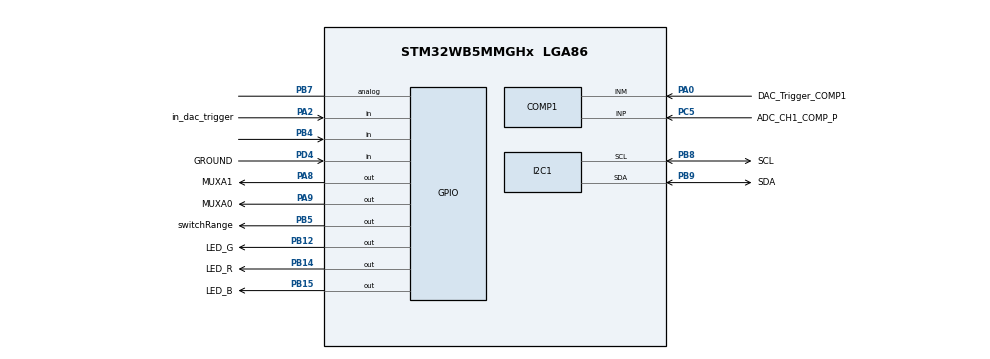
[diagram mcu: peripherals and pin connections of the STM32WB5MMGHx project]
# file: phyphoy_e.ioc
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ADC1.Channel-6\#ChannelRegularConversion=ADC_CHANNEL_5
ADC1.ClockPrescaler=ADC_CLOCK_ASYNC_DIV8
ADC1.ContinuousConvMode=DISABLE
ADC1.DMAContinuousRequests=ENABLE
ADC1.ExternalTrigConv=ADC_SOFTWARE_START
ADC1.ExternalTrigConvEdge=ADC_EXTERNALTRIGCONVEDGE_NONE
ADC1.NbrOfConversion=1
ADC1.NbrOfConversionFlag=1
ADC1.OffsetNumber-6\#ChannelRegularConversion=ADC_OFFSET_NONE
ADC1.Overrun=ADC_OVR_DATA_OVERWRITTEN
ADC1.OversamplingMode=ENABLE
ADC1.Rank-6\#ChannelRegularConversion=1
ADC1.Ratio=ADC_OVERSAMPLING_RATIO_16
ADC1.RightBitShift=ADC_RIGHTBITSHIFT_4
ADC1.SamplingTime-6\#ChannelRegularConversion=ADC_SAMPLETIME_247CYCLES_5
ADC1.master=1
COMP1.Hysteresis=COMP_HYSTERESIS_HIGH
COMP1.TriggerMode=COMP_TRIGGERMODE_NONE
Dma.ADC1.0.Direction=DMA_PERIPH_TO_MEMORY
Dma.ADC1.0.EventEnable=DISABLE
Dma.ADC1.0.Instance=DMA1_Channel1
Dma.ADC1.0.MemDataAlignment=DMA_MDATAALIGN_HALFWORD
Dma.ADC1.0.MemInc=DMA_MINC_ENABLE
Dma.ADC1.0.Mode=DMA_CIRCULAR
Dma.ADC1.0.PeriphDataAlignment=DMA_PDATAALIGN_HALFWORD
Dma.ADC1.0.PeriphInc=DMA_PINC_DISABLE
Dma.ADC1.0.Polarity=HAL_DMAMUX_REQ_GEN_RISING
Dma.ADC1.0.Priority=DMA_PRIORITY_VERY_HIGH
Dma.ADC1.0.RequestNumber=1
Dma.ADC1.0.SignalID=NONE
Dma.ADC1.0.SyncEnable=DISABLE
Dma.ADC1.0.SyncPolarity=HAL_DMAMUX_SYNC_NO_EVENT
Dma.ADC1.0.SyncRequestNumber=1
Dma.ADC1.0.SyncSignalID=NONE
Dma.Request0=ADC1
I2C1.Timing=0x00707CBB
Mcu.Family=STM32WB
Mcu.Name=STM32WB5MMGHx
Mcu.Package=LGA86
NVIC.ADC1_IRQn=true\:0\:0\:false\:false\:true\:true\:true\:true
NVIC.DMA1_Channel1_IRQn=true\:0\:0\:false\:false\:true\:false\:true\:true
NVIC.HSEM_IRQn=true\:0\:0\:false\:false\:true\:false\:true\:true
NVIC.IPCC_C1_RX_IRQn=true\:0\:0\:false\:false\:true\:true\:true\:true
NVIC.IPCC_C1_TX_IRQn=true\:0\:0\:false\:false\:true\:true\:true\:true
NVIC.PriorityGroup=NVIC_PRIORITYGROUP_4
NVIC.RTC_WKUP_IRQn=true\:0\:0\:false\:false\:true\:true\:true\:true
NVIC.TIM1_CC_IRQn=true\:0\:0\:false\:false\:true\:true\:true\:true
NVIC.TIM1_TRG_COM_TIM17_IRQn=true\:0\:0\:false\:false\:true\:true\:true\:true
NVIC.TIM2_IRQn=true\:0\:0\:false\:false\:true\:true\:true\:true
PA0.GPIO_Label=DAC_Trigger_COMP1
PA0.Signal=SharedAnalog_PA0
PA1.GPIO_Label=ADC_MUX_divided
PA1.Signal=ADCx_IN6
PA2.GPIO_Label=in_dac_trigger
PA2.Signal=GPIO_Input
PA5.Signal=ADCx_IN10
PA6.Signal=ADCx_IN11
PA7.Signal=ADCx_IN12
PA8.GPIO_Label=MUXA1
PA8.PinState=GPIO_PIN_SET
PA8.Signal=GPIO_Output
PA9.GPIO_Label=MUXA0
PA9.PinState=GPIO_PIN_RESET
PA9.Signal=GPIO_Output
PB12.GPIO_Label=LED_G
PB12.PinState=GPIO_PIN_SET
PB12.Signal=GPIO_Output
PB14.GPIO_Label=LED_R
PB14.PinState=GPIO_PIN_SET
PB14.Signal=GPIO_Output
PB15.GPIO_Label=LED_B
PB15.GPIO_PuPd=GPIO_NOPULL
PB15.PinState=GPIO_PIN_SET
PB15.Signal=GPIO_Output
PB4.Signal=GPIO_Input
PB5.GPIO_Label=switchRange
PB5.PinState=GPIO_PIN_RESET
PB5.Signal=GPIO_Output
PB7.Signal=GPIO_Analog
PB8.GPIO_Label=SCL
PB8.GPIO_Pu=GPIO_PULLUP
PB8.Mode=I2C
PB8.Signal=I2C1_SCL
PB9.GPIO_Label=SDA
PB9.GPIO_Pu=GPIO_PULLUP
PB9.Mode=I2C
PB9.Signal=I2C1_SDA
PC0.Signal=ADCx_IN1
PC1.Signal=ADCx_IN2
PC2.Signal=ADCx_IN3
PC5.GPIO_Label=ADC_CH1_COMP_P
PC5.Signal=SharedAnalog_PC5
PD4.GPIO_Label=GROUND
PD4.Signal=GPIO_Input
ProjectManager.HeapSize=0x200
ProjectManager.StackSize=0x400
ProjectManager.TargetToolchain=STM32CubeIDE
RCC.ADCFreq_Value=64000000
RCC.AHBFreq_Value=32000000
RCC.APB1Freq_Value=32000000
RCC.APB1TimFreq_Value=32000000
RCC.APB2Freq_Value=32000000
RCC.APB2TimFreq_Value=32000000
RCC.APB3Freq_Value=16000000
RCC.CortexFreq_Value=32000000
RCC.HCLKFreq_Value=32000000
RCC.HSE_VALUE=32000000
RCC.HSI48_VALUE=48000000
RCC.HSI_VALUE=16000000
RCC.MSIClockRange=RCC_MSIRANGE_10
RCC.PLLSourceVirtual=RCC_PLLSOURCE_HSI
RCC.RFWKPClockSelection=RCC_RFWKPCLKSOURCE_LSE
RCC.RTCClockSelection=RCC_RTCCLKSOURCE_LSE
RCC.SYSCLKFreq_VALUE=32000000
RCC.USBFreq_Value=64000000
RCC.VCOOutputFreq_Value=128000000
SH.ADCx_IN1.0=ADC1_IN1
SH.ADCx_IN10.0=ADC1_IN10
SH.ADCx_IN11.0=ADC1_IN11
SH.ADCx_IN12.0=ADC1_IN12
SH.ADCx_IN2.0=ADC1_IN2
SH.ADCx_IN3.0=ADC1_IN3
SH.ADCx_IN6.0=ADC1_IN6
SH.SharedAnalog_PA0.0=COMP1_INM,INM
SH.SharedAnalog_PA0.1=ADC1_IN5,IN5-Single-Ended
SH.SharedAnalog_PC5.0=COMP1_INP,INP
SH.SharedAnalog_PC5.1=ADC1_IN14,IN14-Single-Ended
STM32_WPAN.AD_TYPE_COMPLETE_LOCAL_NAME=phyphox\:e 000
STM32_WPAN.AD_TYPE_COMPLETE_LOCAL_NAME_LENGTH=14
STM32_WPAN.CFG_BLE_MAX_ATT_MTU=185
STM32_WPAN.CFG_BLE_OPTIONS_EXT_ADV=SHCI_C2_BLE_INIT_OPTIONS_EXT_ADV
STM32_WPAN.CUSTOM_P2P_SERVER=Disabled
STM32_WPAN.CUSTOM_TEMPLATE=Enabled
STM32_WPAN.INCLUDE_AD_TYPE_128_BIT_SERV_UUID_CMPLT_LIST=0
STM32_WPAN.INCLUDE_AD_TYPE_COMPLETE_LOCAL_NAME=1
STM32_WPAN.INCLUDE_AD_TYPE_TX_POWER_LEVEL=1
STM32_WPAN.LOCAL_NAME=pp e
STM32_WPAN.LOCAL_NAME_FORMATTED=,'p','p',' ','e'
STM32_WPAN.NUMBER_OF_SERVICES=1
STM32_WPAN.SERVICE1_CHAR1_GATT_NOTIFY_READ_REQ_AND_WAIT_FOR_APPL_RESP=\ 
STM32_WPAN.SERVICE1_CHAR1_GATT_NOTIFY_WRITE_REQ_AND_WAIT_FOR_APPL_RESP=\ 
STM32_WPAN.SERVICE1_CHAR1_LENGTH_CHARACTERISTIC=CHAR_VALUE_LEN_VARIABLE
STM32_WPAN.SERVICE1_CHAR1_LONG_NAME=channelOne
STM32_WPAN.SERVICE1_CHAR1_PROP_BROADCAST=CHAR_PROP_BROADCAST
STM32_WPAN.SERVICE1_CHAR1_PROP_NOTIFY=CHAR_PROP_NOTIFY
STM32_WPAN.SERVICE1_CHAR1_PROP_READ=CHAR_PROP_READ
STM32_WPAN.SERVICE1_CHAR1_PROP_WRITE=CHAR_PROP_WRITE
STM32_WPAN.SERVICE1_CHAR1_SHORT_NAME=channelOne
STM32_WPAN.SERVICE1_CHAR1_UUID=CD DF 10 02 30 F7 46 71 8B 43 5E 40 BA 53 51 4A
STM32_WPAN.SERVICE1_CHAR1_UUID_128_INPUT_TYPE=1
STM32_WPAN.SERVICE1_CHAR1_VALUE_LENGTH=180
STM32_WPAN.SERVICE1_CHAR2_GATT_NOTIFY_READ_REQ_AND_WAIT_FOR_APPL_RESP=\ 
STM32_WPAN.SERVICE1_CHAR2_GATT_NOTIFY_WRITE_REQ_AND_WAIT_FOR_APPL_RESP=\ 
STM32_WPAN.SERVICE1_CHAR2_LENGTH_CHARACTERISTIC=CHAR_VALUE_LEN_CONSTANT
STM32_WPAN.SERVICE1_CHAR2_LONG_NAME=myCharNotify
STM32_WPAN.SERVICE1_CHAR2_PROP_READ=CHAR_PROP_READ
STM32_WPAN.SERVICE1_CHAR2_PROP_WRITE=CHAR_PROP_WRITE
STM32_WPAN.SERVICE1_CHAR2_SHORT_NAME=myCharNotify
STM32_WPAN.SERVICE1_CHAR2_UUID=CD DF 10 03 30 F7 46 71 8B 43 5E 40 BA 53 51 4A
STM32_WPAN.SERVICE1_CHAR2_UUID_128_INPUT_TYPE=1
STM32_WPAN.SERVICE1_CHAR2_VALUE_LENGTH=1
STM32_WPAN.SERVICE1_CHAR3_GATT_NOTIFY_READ_REQ_AND_WAIT_FOR_APPL_RESP=\ 
STM32_WPAN.SERVICE1_CHAR3_GATT_NOTIFY_WRITE_REQ_AND_WAIT_FOR_APPL_RESP=\ 
STM32_WPAN.SERVICE1_CHAR3_LENGTH_CHARACTERISTIC=CHAR_VALUE_LEN_VARIABLE
STM32_WPAN.SERVICE1_CHAR3_LONG_NAME=dac_char
STM32_WPAN.SERVICE1_CHAR3_PROP_READ=CHAR_PROP_READ
STM32_WPAN.SERVICE1_CHAR3_PROP_WRITE=CHAR_PROP_WRITE
STM32_WPAN.SERVICE1_CHAR3_SHORT_NAME=dac_char
STM32_WPAN.SERVICE1_CHAR3_UUID=CD DF 10 04 30 F7 46 71 8B 43 5E 40 BA 53 51 4A
STM32_WPAN.SERVICE1_CHAR3_UUID_128_INPUT_TYPE=1
STM32_WPAN.SERVICE1_CHAR3_VALUE_LENGTH=20
STM32_WPAN.SERVICE1_CHAR4_GATT_NOTIFY_READ_REQ_AND_WAIT_FOR_APPL_RESP=\ 
STM32_WPAN.SERVICE1_CHAR4_GATT_NOTIFY_WRITE_REQ_AND_WAIT_FOR_APPL_RESP=\ 
STM32_WPAN.SERVICE1_CHAR4_LONG_NAME=adc_cfg_char
STM32_WPAN.SERVICE1_CHAR4_PROP_READ=CHAR_PROP_READ
STM32_WPAN.SERVICE1_CHAR4_PROP_WRITE=CHAR_PROP_WRITE
STM32_WPAN.SERVICE1_CHAR4_SHORT_NAME=adc_cfg_char
STM32_WPAN.SERVICE1_CHAR4_UUID=CD DF 10 05 30 F7 46 71 8B 43 5E 40 BA 53 51 4A
STM32_WPAN.SERVICE1_CHAR4_UUID_128_INPUT_TYPE=1
STM32_WPAN.SERVICE1_CHAR4_VALUE_LENGTH=20
STM32_WPAN.SERVICE1_CHAR5_GATT_NOTIFY_READ_REQ_AND_WAIT_FOR_APPL_RESP=\ 
STM32_WPAN.SERVICE1_CHAR5_GATT_NOTIFY_WRITE_REQ_AND_WAIT_FOR_APPL_RESP=\ 
STM32_WPAN.SERVICE1_CHAR5_LONG_NAME=CALIBRATION
STM32_WPAN.SERVICE1_CHAR5_PROP_READ=CHAR_PROP_READ
STM32_WPAN.SERVICE1_CHAR5_PROP_WRITE=CHAR_PROP_WRITE
STM32_WPAN.SERVICE1_CHAR5_SHORT_NAME=CALIBRATION
STM32_WPAN.SERVICE1_CHAR5_UUID=CD DF 90 02 30 F7 46 71 8B 43 5E 40 BA 53 51 4A
STM32_WPAN.SERVICE1_CHAR5_UUID_128_INPUT_TYPE=1
STM32_WPAN.SERVICE1_CHAR5_VALUE_LENGTH=20
STM32_WPAN.SERVICE1_LONG_NAME=data
STM32_WPAN.SERVICE1_NUMBER_OF_CHARACTERISTICS=5
STM32_WPAN.SERVICE1_SHORT_NAME=data
STM32_WPAN.SERVICE1_UUID=CD DF 10 01 30 F7 46 71 8B 43 5E 40 BA 53 51 4A
STM32_WPAN.SERVICE1_UUID_128_INPUT_TYPE=1
TIM1.AutoReloadPreload=TIM_AUTORELOAD_PRELOAD_ENABLE
TIM1.Channel-Input_Capture1_from_TI1_REMAP_TIM1=TIM_CHANNEL_1
TIM1.ICFilter_CH1=5
TIM1.ICPolarity_CH1=TIM_INPUTCHANNELPOLARITY_FALLING
TIM1.Period=4000+500
TIM1.Prescaler=30
TIM1.TIM_MasterOutputTrigger=TIM_TRGO_UPDATE
TIM1.TIM_MasterOutputTrigger2=TIM_TRGO2_RESET
TIM2.AutoReloadPreload=TIM_AUTORELOAD_PRELOAD_DISABLE
TIM2.Period=10
TIM2.Prescaler=30
TIM2.TIM_MasterOutputTrigger=TIM_TRGO_UPDATE
VP_HSEM_VS_HSEM.Mode=HSEM_Activate
VP_IPCC_VS_IPCC.Mode=IPCC_Activate
VP_MEMORYMAP_VS_MEMORYMAP.Mode=CurAppReg
VP_RCC_V_OSC32_IN.Mode=LSE-External-Clock-Source
VP_RCC_V_OSC_IN.Mode=HSE-External-Clock-Source
VP_RF_VS_RF.Mode=RF_Activate
VP_RTC_VS_RTC_Activate.Mode=RTC_Enabled
VP_RTC_VS_RTC_WakeUp_intern.Mode=WakeUp
VP_SEQUENCER_VS_SEQUENCER.Mode=SEQUENCER_Enabled
VP_STM32_WPAN_VS_BLE_HOST.Mode=STM32_WPAN_Enabled
VP_TIM1_VS_ClockSourceINT.Mode=Internal
VP_TIM1_VS_NoInput1.Mode=Input_Capture1_from_TI1_REMAP_TIM1
VP_TIM2_VS_ClockSourceINT.Mode=Internal
VP_TINY_LPM_VS_TINY_LPM.Mode=TINY_LPM_Enabled
board=custom

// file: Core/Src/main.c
/* USER CODE BEGIN Header */
/**
  ******************************************************************************
  * @file           : main.c
  * @brief          : Main program body
  ******************************************************************************
  * @attention
  *
  * Copyright (c) 2023 STMicroelectronics.
  * All rights reserved.
  *
  * This software is licensed under terms that can be found in the LICENSE file
  * in the root directory of this software component.
  * If no LICENSE file comes with this software, it is provided AS-IS.
  *
  ******************************************************************************
  */
/* USER CODE END Header */
#include "main.h"

/* USER CODE BEGIN Includes */
#include <stdbool.h>
#include "dac.h"
#include "shared.h"
#include <stdlib.h>
#include <stdio.h>
#include <math.h>
/* USER CODE END Includes */

/* USER CODE BEGIN PTD */
uint32_t flash_address = 0x08080000;

uint8_t SAMPLETIME[8]={ADC_SAMPLETIME_2CYCLES_5,	// 0
		  ADC_SAMPLETIME_6CYCLES_5,					// 1
		  ADC_SAMPLETIME_12CYCLES_5,				// 2
		  ADC_SAMPLETIME_24CYCLES_5,				// 3
		  ADC_SAMPLETIME_47CYCLES_5,				// 4
		  ADC_SAMPLETIME_92CYCLES_5,				// 5
		  ADC_SAMPLETIME_247CYCLES_5,				// 6g
		  ADC_SAMPLETIME_640CYCLES_5};
float SAMPLETIME_CYCLES[8]={2.5,	// 0
		  6.5,					// 1
		  12.5,				// 2
		  24.5,				// 3
		  47.5,				// 4
		  92.5,				// 5
		  247.5,				// 6g
		  640.5};

uint8_t PRESCALER[]={ADC_CLOCK_ASYNC_DIV1,
					ADC_CLOCK_ASYNC_DIV2,
					ADC_CLOCK_ASYNC_DIV4,
					ADC_CLOCK_ASYNC_DIV8,
					ADC_CLOCK_ASYNC_DIV16,
					ADC_CLOCK_ASYNC_DIV32
};
uint8_t PRESCALER_DIVIDER[]={1,
					2,
					4,
					8,
					16,
					32
};
uint8_t OVERSAMPLING[]={ADC_OVERSAMPLING_RATIO_2,
						ADC_OVERSAMPLING_RATIO_2,
						ADC_OVERSAMPLING_RATIO_4,
						ADC_OVERSAMPLING_RATIO_8,
						ADC_OVERSAMPLING_RATIO_16,
						ADC_OVERSAMPLING_RATIO_32,
						ADC_OVERSAMPLING_RATIO_64,
						ADC_OVERSAMPLING_RATIO_128,
						ADC_OVERSAMPLING_RATIO_256
};
uint16_t OVERSAMPLING_DIVIDER[9]={1,
						2,
						4,
						8,
						16,
						32,
						64,
						128,
						256
};
uint8_t BITSHIFT[]={ADC_RIGHTBITSHIFT_NONE,
						ADC_RIGHTBITSHIFT_1,
						ADC_RIGHTBITSHIFT_2,
						ADC_RIGHTBITSHIFT_3,
						ADC_RIGHTBITSHIFT_4,
						ADC_RIGHTBITSHIFT_5,
						ADC_RIGHTBITSHIFT_6,
						ADC_RIGHTBITSHIFT_7,
						ADC_RIGHTBITSHIFT_8
};

/* USER CODE END PTD */

ADC_HandleTypeDef hadc1;
DMA_HandleTypeDef hdma_adc1;

COMP_HandleTypeDef hcomp1;

I2C_HandleTypeDef hi2c1;

IPCC_HandleTypeDef hipcc;

RTC_HandleTypeDef hrtc;

TIM_HandleTypeDef htim1;
TIM_HandleTypeDef htim2;

/* USER CODE BEGIN PV */

#define FLASH_LAYOUT_IS_HOMOGENEOUS (1)
#define FLASH_LAYOUT_START_ADDR     (FLASH_BASE)
#define FLASH_LAYOUT_SECTOR_SIZE    (FLASH_PAGE_SIZE)
#define FLASH_LAYOUT_NUM_SECTORS    (512)

uint16_t adc_buf[ADC_BUFFER_LEN];

float dac_voltage[2]={0};

uint8_t* adc_mode = &adc_config[0];
uint8_t* adc_routing = &adc_config[1];
uint8_t* adc_sampletime = &adc_config[2];
uint8_t* adc_clock_prescaler = &adc_config[3];
uint8_t* adc_oversampling = &adc_config[4];
uint8_t* adc_edge = &adc_config[5];

extern uint8_t ble_flag;
extern uint8_t ble_buffer[1];
extern volatile uint8_t transferring = 0;
extern uint8_t adc_char_length = 180;
extern volatile uint8_t activate_trigger = 0;

volatile int Is_First_Captured = 0;
volatile int first_adc_loop_finished = 0;

volatile uint32_t IC_Val1 = 0;
volatile uint16_t timer_val;

volatile uint32_t reference_counts = 0;

extern volatile uint16_t timestamp_trigger = 0;
extern volatile uint16_t timestamp_adc_stop = 0;

extern volatile uint16_t SAMPLES_PRE_TRIGGER = 90;
extern volatile uint16_t SAMPLES_POST_TRIGGER = 270;
extern volatile uint16_t my_prescaler = 30;//16417;

extern uint16_t CALI_DAC_INT[4] = {0,0};
extern uint16_t CALI_DAC_INT_OUT[2] = {0,0};

extern float CALI_DAC_FLOAT[2] = {0,0};
extern uint16_t SERIALNUMBER[1] = {0};
extern float CALI_LOW_FLOAT[2] = {0.0,0.0};
extern volatile uint8_t CALIBRATED = 0;

//VALENTIN
//extern int CALI_LOW_INT[2] = {1957,1957};
//extern float CALI_HIGH_FLOAT[2] = {12.0,12.0};
//extern int CALI_HIGH_INT[2] = {3874,3874};

//JONA
//extern int CALI_LOW_INT[2] = {2060,2060};
//extern float CALI_HIGH_FLOAT[2] = {12.0,12.0};
//extern int CALI_HIGH_INT[2] = {3795,3795};

//Dominik
extern uint16_t CALI_LOW_INT[2] = {3,4};
extern float CALI_HIGH_FLOAT[2] = {7.63,7.63};
extern uint16_t CALI_HIGH_INT[2] = {5,6};

extern float CALI_LOW_FLOAT[2] = {0.0,0.0};
extern int CALI_LOW_INT[2] = {2029,2029};
extern float CALI_HIGH_FLOAT[2] = {10.02,10.02};
extern int CALI_HIGH_INT[2] = {3472,3472};
extern uint8_t CALIBRATET = 1;

/* USER CODE END PV */

void SystemClock_Config(void);
void PeriphCommonClock_Config(void);
static void MX_GPIO_Init(void);
static void MX_DMA_Init(void);
static void MX_RTC_Init(void);
static void MX_I2C1_Init(void);
static void MX_COMP1_Init(void);
static void MX_ADC1_Init(void);
static void MX_IPCC_Init(void);
static void MX_TIM1_Init(void);
static void MX_TIM2_Init(void);
static void MX_RF_Init(void);
/* USER CODE BEGIN PFP */

static uint8_t write_i2c(uint8_t addr, uint16_t reg, uint8_t *data_w, uint16_t len);
static uint8_t read_i2c(uint8_t addr, uint16_t reg, uint8_t *data_r, uint16_t len);
uint16_t volatile timer_val;

/* USER CODE END PFP */

/* USER CODE BEGIN 0 */

int _write(int file, char *ptr, int len){
	int i=0;
	for(i=0; i<len; i++){
		ITM_SendChar((*ptr++));
	}
	return len;
}
extern dacx3202_t dacx3202 = {.addr = DACX3202_7B_ADDR(0x00),
							.i2c_read = read_i2c,
							.i2c_write = write_i2c,
							.vref = 3.0};

/* USER CODE END 0 */

int main(void)
{

  /* MCU Configuration--------------------------------------------------------*/

  /* Reset of all peripherals, Initializes the Flash interface and the Systick. */
  HAL_Init();
  /* Config code for STM32_WPAN (HSE Tuning must be done before system clock configuration) */
  MX_APPE_Config();

  /* Configure the system clock */
  SystemClock_Config();

/* Configure the peripherals common clocks */
  PeriphCommonClock_Config();

  /* IPCC initialisation */
  MX_IPCC_Init();

  /* Initialize all configured peripherals */
  MX_GPIO_Init();
  MX_DMA_Init();
  MX_RTC_Init();
  MX_I2C1_Init();
  MX_COMP1_Init();
  MX_ADC1_Init();
  MX_TIM1_Init();
  MX_TIM2_Init();
  MX_RF_Init();
  /* USER CODE BEGIN 2 */
  adc_buffer_p = &adc_buf[0];

//HAL_TIM_OnePulse_Start_IT(&htim1, TIM_CHANNEL_1);

  //HAL_GPIO_TogglePin(LED_R_GPIO_Port, LED_R_Pin);

  //HAL_TIM_Base_Start_IT(&htim1);
  //HAL_TIM_OC_Start_IT(&htim1, TIM_CHANNEL_1);

  HAL_COMP_Start(&hcomp1);

  dacx3202_init(&dacx3202);
  dacx3202_power_up(&dacx3202, DACX3202_DAC_0);
  dacx3202_set_voltage(&dacx3202, DACX3202_DAC_0, 1.59);
  dacx3202_power_up(&dacx3202, DACX3202_DAC_1);
  //dacx3202_set_voltage(&dacx3202, DACX3202_DAC_1, 2.2);
  dacx3202_set_value(&dacx3202, DACX3202_DAC_1, 0);

  myPointerToDMA = &adc_buf[0];
  if(HAL_ADCEx_Calibration_Start(&hadc1, ADC_SINGLE_ENDED)== HAL_OK){
	  //HAL_GPIO_TogglePin(LED_G_GPIO_Port, LED_G_Pin);
  }
  //HAL_ADC_Start_IT(&hadc1);

  //start_circular_adc();

  //HAL_ADC_Start_DMA_(&hadc1, (uint32_t*)adc_buf, ADC_BUFFER_LEN);
  HAL_ADC_Start(&hadc1);
  HAL_ADC_PollForConversion(&hadc1, 1000);
  uint16_t dac_calibration_value = HAL_ADC_GetValue(&hadc1);
  HAL_ADC_Stop(&hadc1);
  printf("dac_calibration_valuie low%i\r\n",dac_calibration_value);
  CALI_DAC_INT[0]=dac_calibration_value;

  dacx3202_set_value(&dacx3202, DACX3202_DAC_1, 1023);
  HAL_ADC_Start(&hadc1);
	HAL_ADC_PollForConversion(&hadc1, 1000);
	dac_calibration_value = HAL_ADC_GetValue(&hadc1);
	HAL_ADC_Stop(&hadc1);
	printf("dac_calibration_valuie high %i\r\n",dac_calibration_value);
	CALI_DAC_INT[1]=dac_calibration_value;

	HAL_GPIO_WritePin(LED_R_GPIO_Port, LED_R_Pin, 0);

	//update_flash();
	read_flash();

  /* USER CODE END 2 */

  /* Init code for STM32_WPAN */
  MX_APPE_Init();

  /* Infinite loop */
  while (1)
  {
    MX_APPE_Process();

  }
}

void SystemClock_Config(void)
{
  RCC_OscInitTypeDef RCC_OscInitStruct = {0};
  RCC_ClkInitTypeDef RCC_ClkInitStruct = {0};

  /** Macro to configure the PLL multiplication factor
  */
  __HAL_RCC_PLL_PLLM_CONFIG(RCC_PLLM_DIV1);

  /** Macro to configure the PLL clock source
  */
  __HAL_RCC_PLL_PLLSOURCE_CONFIG(RCC_PLLSOURCE_HSI);

  /** Configure LSE Drive Capability
  */
  HAL_PWR_EnableBkUpAccess();
  __HAL_RCC_LSEDRIVE_CONFIG(RCC_LSEDRIVE_MEDIUMHIGH);

  /** Configure the main internal regulator output voltage
  */
  __HAL_PWR_VOLTAGESCALING_CONFIG(PWR_REGULATOR_VOLTAGE_SCALE1);

  /** Initializes the RCC Oscillators according to the specified parameters
  * in the RCC_OscInitTypeDef structure.
  */
  RCC_OscInitStruct.OscillatorType = RCC_OSCILLATORTYPE_HSI|RCC_OSCILLATORTYPE_HSE
                              |RCC_OSCILLATORTYPE_LSE|RCC_OSCILLATORTYPE_MSI;
  RCC_OscInitStruct.HSEState = RCC_HSE_ON;
  RCC_OscInitStruct.LSEState = RCC_LSE_ON;
  RCC_OscInitStruct.HSIState = RCC_HSI_ON;
  RCC_OscInitStruct.MSIState = RCC_MSI_ON;
  RCC_OscInitStruct.HSICalibrationValue = RCC_HSICALIBRATION_DEFAULT;
  RCC_OscInitStruct.MSICalibrationValue = RCC_MSICALIBRATION_DEFAULT;
  RCC_OscInitStruct.MSIClockRange = RCC_MSIRANGE_10;
  RCC_OscInitStruct.PLL.PLLState = RCC_PLL_NONE;
  if (HAL_RCC_OscConfig(&RCC_OscInitStruct) != HAL_OK)
  {
    Error_Handler();
  }

  /** Configure the SYSCLKSource, HCLK, PCLK1 and PCLK2 clocks dividers
  */
  RCC_ClkInitStruct.ClockType = RCC_CLOCKTYPE_HCLK4|RCC_CLOCKTYPE_HCLK2
                              |RCC_CLOCKTYPE_HCLK|RCC_CLOCKTYPE_SYSCLK
                              |RCC_CLOCKTYPE_PCLK1|RCC_CLOCKTYPE_PCLK2;
  RCC_ClkInitStruct.SYSCLKSource = RCC_SYSCLKSOURCE_MSI;
  RCC_ClkInitStruct.AHBCLKDivider = RCC_SYSCLK_DIV1;
  RCC_ClkInitStruct.APB1CLKDivider = RCC_HCLK_DIV1;
  RCC_ClkInitStruct.APB2CLKDivider = RCC_HCLK_DIV1;
  RCC_ClkInitStruct.AHBCLK2Divider = RCC_SYSCLK_DIV1;
  RCC_ClkInitStruct.AHBCLK4Divider = RCC_SYSCLK_DIV1;

  if (HAL_RCC_ClockConfig(&RCC_ClkInitStruct, FLASH_LATENCY_1) != HAL_OK)
  {
    Error_Handler();
  }
}

void PeriphCommonClock_Config(void)
{
  RCC_PeriphCLKInitTypeDef PeriphClkInitStruct = {0};

  /** Initializes the peripherals clock
  */
  PeriphClkInitStruct.PeriphClockSelection = RCC_PERIPHCLK_SMPS|RCC_PERIPHCLK_RFWAKEUP;
  PeriphClkInitStruct.RFWakeUpClockSelection = RCC_RFWKPCLKSOURCE_LSE;
  PeriphClkInitStruct.SmpsClockSelection = RCC_SMPSCLKSOURCE_HSI;
  PeriphClkInitStruct.SmpsDivSelection = RCC_SMPSCLKDIV_RANGE1;

  if (HAL_RCCEx_PeriphCLKConfig(&PeriphClkInitStruct) != HAL_OK)
  {
    Error_Handler();
  }
}

static void MX_ADC1_Init(void)
{

  ADC_ChannelConfTypeDef sConfig = {0};

  /** Common config
  */
  hadc1.Instance = ADC1;
  hadc1.Init.ClockPrescaler = ADC_CLOCK_ASYNC_DIV8;
  hadc1.Init.Resolution = ADC_RESOLUTION_12B;
  hadc1.Init.DataAlign = ADC_DATAALIGN_RIGHT;
  hadc1.Init.ScanConvMode = ADC_SCAN_DISABLE;
  hadc1.Init.EOCSelection = ADC_EOC_SINGLE_CONV;
  hadc1.Init.LowPowerAutoWait = DISABLE;
  hadc1.Init.ContinuousConvMode = DISABLE;
  hadc1.Init.NbrOfConversion = 1;
  hadc1.Init.DiscontinuousConvMode = DISABLE;
  hadc1.Init.ExternalTrigConv = ADC_SOFTWARE_START;
  hadc1.Init.ExternalTrigConvEdge = ADC_EXTERNALTRIGCONVEDGE_NONE;
  hadc1.Init.DMAContinuousRequests = ENABLE;
  hadc1.Init.Overrun = ADC_OVR_DATA_OVERWRITTEN;
  hadc1.Init.OversamplingMode = ENABLE;
  hadc1.Init.Oversampling.Ratio = ADC_OVERSAMPLING_RATIO_16;
  hadc1.Init.Oversampling.RightBitShift = ADC_RIGHTBITSHIFT_4;
  hadc1.Init.Oversampling.TriggeredMode = ADC_TRIGGEREDMODE_SINGLE_TRIGGER;
  hadc1.Init.Oversampling.OversamplingStopReset = ADC_REGOVERSAMPLING_CONTINUED_MODE;
  if (HAL_ADC_Init(&hadc1) != HAL_OK)
  {
    Error_Handler();
  }

  /** Configure Regular Channel
  */
  sConfig.Channel = ADC_CHANNEL_5;
  sConfig.Rank = ADC_REGULAR_RANK_1;
  sConfig.SamplingTime = ADC_SAMPLETIME_247CYCLES_5;
  sConfig.SingleDiff = ADC_SINGLE_ENDED;
  sConfig.OffsetNumber = ADC_OFFSET_NONE;
  sConfig.Offset = 0;
  if (HAL_ADC_ConfigChannel(&hadc1, &sConfig) != HAL_OK)
  {
    Error_Handler();
  }

}

static void MX_COMP1_Init(void)
{

  hcomp1.Instance = COMP1;
  hcomp1.Init.InputMinus = COMP_INPUT_MINUS_IO3;
  hcomp1.Init.InputPlus = COMP_INPUT_PLUS_IO1;
  hcomp1.Init.OutputPol = COMP_OUTPUTPOL_NONINVERTED;
  hcomp1.Init.Hysteresis = COMP_HYSTERESIS_HIGH;
  hcomp1.Init.BlankingSrce = COMP_BLANKINGSRC_NONE;
  hcomp1.Init.Mode = COMP_POWERMODE_HIGHSPEED;
  hcomp1.Init.WindowMode = COMP_WINDOWMODE_DISABLE;
  hcomp1.Init.TriggerMode = COMP_TRIGGERMODE_NONE;
  if (HAL_COMP_Init(&hcomp1) != HAL_OK)
  {
    Error_Handler();
  }

}

static void MX_I2C1_Init(void)
{

  hi2c1.Instance = I2C1;
  hi2c1.Init.Timing = 0x00707CBB;
  hi2c1.Init.OwnAddress1 = 0;
  hi2c1.Init.AddressingMode = I2C_ADDRESSINGMODE_7BIT;
  hi2c1.Init.DualAddressMode = I2C_DUALADDRESS_DISABLE;
  hi2c1.Init.OwnAddress2 = 0;
  hi2c1.Init.OwnAddress2Masks = I2C_OA2_NOMASK;
  hi2c1.Init.GeneralCallMode = I2C_GENERALCALL_DISABLE;
  hi2c1.Init.NoStretchMode = I2C_NOSTRETCH_DISABLE;
  if (HAL_I2C_Init(&hi2c1) != HAL_OK)
  {
    Error_Handler();
  }

  /** Configure Analogue filter
  */
  if (HAL_I2CEx_ConfigAnalogFilter(&hi2c1, I2C_ANALOGFILTER_ENABLE) != HAL_OK)
  {
    Error_Handler();
  }

  /** Configure Digital filter
  */
  if (HAL_I2CEx_ConfigDigitalFilter(&hi2c1, 0) != HAL_OK)
  {
    Error_Handler();
  }

}

static void MX_IPCC_Init(void)
{

  hipcc.Instance = IPCC;
  if (HAL_IPCC_Init(&hipcc) != HAL_OK)
  {
    Error_Handler();
  }

}

static void MX_RF_Init(void)
{

}

static void MX_RTC_Init(void)
{

  /** Initialize RTC Only
  */
  hrtc.Instance = RTC;
  hrtc.Init.HourFormat = RTC_HOURFORMAT_24;
  hrtc.Init.AsynchPrediv = CFG_RTC_ASYNCH_PRESCALER;
  hrtc.Init.SynchPrediv = CFG_RTC_SYNCH_PRESCALER;
  hrtc.Init.OutPut = RTC_OUTPUT_DISABLE;
  hrtc.Init.OutPutPolarity = RTC_OUTPUT_POLARITY_HIGH;
  hrtc.Init.OutPutType = RTC_OUTPUT_TYPE_OPENDRAIN;
  hrtc.Init.OutPutRemap = RTC_OUTPUT_REMAP_NONE;
  if (HAL_RTC_Init(&hrtc) != HAL_OK)
  {
    Error_Handler();
  }

  /** Enable the WakeUp
  */
  if (HAL_RTCEx_SetWakeUpTimer_IT(&hrtc, 0, RTC_WAKEUPCLOCK_RTCCLK_DIV16) != HAL_OK)
  {
    Error_Handler();
  }

}

static void MX_TIM1_Init(void)
{

  TIM_ClockConfigTypeDef sClockSourceConfig = {0};
  TIM_MasterConfigTypeDef sMasterConfig = {0};
  TIM_IC_InitTypeDef sConfigIC = {0};

  htim1.Instance = TIM1;
  htim1.Init.Prescaler = 30;
  htim1.Init.CounterMode = TIM_COUNTERMODE_UP;
  htim1.Init.Period = 4000+500;
  htim1.Init.ClockDivision = TIM_CLOCKDIVISION_DIV1;
  htim1.Init.RepetitionCounter = 0;
  htim1.Init.AutoReloadPreload = TIM_AUTORELOAD_PRELOAD_ENABLE;
  if (HAL_TIM_Base_Init(&htim1) != HAL_OK)
  {
    Error_Handler();
  }
  sClockSourceConfig.ClockSource = TIM_CLOCKSOURCE_INTERNAL;
  if (HAL_TIM_ConfigClockSource(&htim1, &sClockSourceConfig) != HAL_OK)
  {
    Error_Handler();
  }
  if (HAL_TIM_IC_Init(&htim1) != HAL_OK)
  {
    Error_Handler();
  }
  sMasterConfig.MasterOutputTrigger = TIM_TRGO_UPDATE;
  sMasterConfig.MasterOutputTrigger2 = TIM_TRGO2_RESET;
  sMasterConfig.MasterSlaveMode = TIM_MASTERSLAVEMODE_DISABLE;
  if (HAL_TIMEx_MasterConfigSynchronization(&htim1, &sMasterConfig) != HAL_OK)
  {
    Error_Handler();
  }
  sConfigIC.ICPolarity = TIM_INPUTCHANNELPOLARITY_FALLING;
  sConfigIC.ICSelection = TIM_ICSELECTION_DIRECTTI;
  sConfigIC.ICPrescaler = TIM_ICPSC_DIV1;
  sConfigIC.ICFilter = 5;
  if (HAL_TIM_IC_ConfigChannel(&htim1, &sConfigIC, TIM_CHANNEL_1) != HAL_OK)
  {
    Error_Handler();
  }
  if (HAL_TIMEx_RemapConfig(&htim1, TIM_TIM1_TI1_COMP1) != HAL_OK)
  {
    Error_Handler();
  }

}

static void MX_TIM2_Init(void)
{

  TIM_ClockConfigTypeDef sClockSourceConfig = {0};
  TIM_MasterConfigTypeDef sMasterConfig = {0};

  htim2.Instance = TIM2;
  htim2.Init.Prescaler = 30;
  htim2.Init.CounterMode = TIM_COUNTERMODE_UP;
  htim2.Init.Period = 10;
  htim2.Init.ClockDivision = TIM_CLOCKDIVISION_DIV1;
  htim2.Init.AutoReloadPreload = TIM_AUTORELOAD_PRELOAD_DISABLE;
  if (HAL_TIM_Base_Init(&htim2) != HAL_OK)
  {
    Error_Handler();
  }
  sClockSourceConfig.ClockSource = TIM_CLOCKSOURCE_INTERNAL;
  if (HAL_TIM_ConfigClockSource(&htim2, &sClockSourceConfig) != HAL_OK)
  {
    Error_Handler();
  }
  sMasterConfig.MasterOutputTrigger = TIM_TRGO_UPDATE;
  sMasterConfig.MasterSlaveMode = TIM_MASTERSLAVEMODE_DISABLE;
  if (HAL_TIMEx_MasterConfigSynchronization(&htim2, &sMasterConfig) != HAL_OK)
  {
    Error_Handler();
  }
  /* USER CODE BEGIN TIM2_Init 2 */
  __HAL_TIM_CLEAR_IT(&htim2, TIM_IT_UPDATE);
  __HAL_TIM_ENABLE_IT(&htim2,TIM_IT_UPDATE);

  /* USER CODE END TIM2_Init 2 */

}

static void MX_DMA_Init(void)
{

  /* DMA controller clock enable */
  __HAL_RCC_DMAMUX1_CLK_ENABLE();
  __HAL_RCC_DMA1_CLK_ENABLE();

  /* DMA interrupt init */
  /* DMA1_Channel1_IRQn interrupt configuration */
  HAL_NVIC_SetPriority(DMA1_Channel1_IRQn, 0, 0);
  HAL_NVIC_EnableIRQ(DMA1_Channel1_IRQn);

}

static void MX_GPIO_Init(void)
{
  GPIO_InitTypeDef GPIO_InitStruct = {0};

  /* GPIO Ports Clock Enable */
  __HAL_RCC_GPIOA_CLK_ENABLE();
  __HAL_RCC_GPIOC_CLK_ENABLE();
  __HAL_RCC_GPIOB_CLK_ENABLE();
  __HAL_RCC_GPIOD_CLK_ENABLE();

  /*Configure GPIO pin Output Level */
  HAL_GPIO_WritePin(switchRange_GPIO_Port, switchRange_Pin, GPIO_PIN_RESET);

  /*Configure GPIO pin Output Level */
  HAL_GPIO_WritePin(GPIOB, LED_R_Pin|LED_B_Pin|LED_G_Pin, GPIO_PIN_SET);

  /*Configure GPIO pin Output Level */
  HAL_GPIO_WritePin(MUXA1_GPIO_Port, MUXA1_Pin, GPIO_PIN_SET);

  /*Configure GPIO pin Output Level */
  HAL_GPIO_WritePin(MUXA0_GPIO_Port, MUXA0_Pin, GPIO_PIN_RESET);

  /*Configure GPIO pin : in_dac_trigger_Pin */
  GPIO_InitStruct.Pin = in_dac_trigger_Pin;
  GPIO_InitStruct.Mode = GPIO_MODE_INPUT;
  GPIO_InitStruct.Pull = GPIO_NOPULL;
  HAL_GPIO_Init(in_dac_trigger_GPIO_Port, &GPIO_InitStruct);

  /*Configure GPIO pin : PB7 */
  GPIO_InitStruct.Pin = GPIO_PIN_7;
  GPIO_InitStruct.Mode = GPIO_MODE_ANALOG;
  GPIO_InitStruct.Pull = GPIO_NOPULL;
  HAL_GPIO_Init(GPIOB, &GPIO_InitStruct);

  /*Configure GPIO pins : switchRange_Pin LED_R_Pin LED_B_Pin LED_G_Pin */
  GPIO_InitStruct.Pin = switchRange_Pin|LED_R_Pin|LED_B_Pin|LED_G_Pin;
  GPIO_InitStruct.Mode = GPIO_MODE_OUTPUT_PP;
  GPIO_InitStruct.Pull = GPIO_NOPULL;
  GPIO_InitStruct.Speed = GPIO_SPEED_FREQ_LOW;
  HAL_GPIO_Init(GPIOB, &GPIO_InitStruct);

  /*Configure GPIO pin : PB4 */
  GPIO_InitStruct.Pin = GPIO_PIN_4;
  GPIO_InitStruct.Mode = GPIO_MODE_INPUT;
  GPIO_InitStruct.Pull = GPIO_NOPULL;
  HAL_GPIO_Init(GPIOB, &GPIO_InitStruct);

  /*Configure GPIO pins : MUXA1_Pin MUXA0_Pin */
  GPIO_InitStruct.Pin = MUXA1_Pin|MUXA0_Pin;
  GPIO_InitStruct.Mode = GPIO_MODE_OUTPUT_PP;
  GPIO_InitStruct.Pull = GPIO_NOPULL;
  GPIO_InitStruct.Speed = GPIO_SPEED_FREQ_LOW;
  HAL_GPIO_Init(GPIOA, &GPIO_InitStruct);

  /*Configure GPIO pin : GROUND_Pin */
  GPIO_InitStruct.Pin = GROUND_Pin;
  GPIO_InitStruct.Mode = GPIO_MODE_INPUT;
  GPIO_InitStruct.Pull = GPIO_NOPULL;
  HAL_GPIO_Init(GROUND_GPIO_Port, &GPIO_InitStruct);

}

/* USER CODE BEGIN 4 */

int __io_putchar(int ch) {
    ITM_SendChar(ch);
    return ch;
}

static uint8_t write_i2c(uint8_t addr, uint16_t reg, uint8_t *data_w, uint16_t len){
	HAL_StatusTypeDef ret;
	const int cLen = len + 1;
	uint8_t tx[cLen];
	tx[0] = reg;
	for (int i = 0; i < len; i++) {
	        tx[i + 1] = data_w[i];
	}
	ret = HAL_I2C_Master_Transmit(&hi2c1, addr, tx , cLen, HAL_MAX_DELAY);
	if(ret){
		//HAL_GPIO_WritePin(LED_R_GPIO_Port, LED_R_Pin, 0);
	}

}

static uint8_t read_i2c(uint8_t addr, uint16_t reg, uint8_t *data_r, uint16_t len){
	HAL_StatusTypeDef ret;
	uint8_t tx[1] = {reg};

	ret = HAL_I2C_Master_Transmit(&hi2c1, addr, &tx[0] , 1, HAL_MAX_DELAY);

	if(ret){
		HAL_GPIO_WritePin(LED_R_GPIO_Port, LED_R_Pin, 0);
	}

	ret = HAL_I2C_Master_Receive(&hi2c1, addr, data_r, len, HAL_MAX_DELAY);

	if(ret){
		//HAL_GPIO_WritePin(LED_R_GPIO_Port, LED_R_Pin, 0);
	}

}

extern void change_edge(uint8_t e){
	TIM_IC_InitTypeDef sConfigIC = {0};

	if(e==0){
		sConfigIC.ICPolarity = TIM_INPUTCHANNELPOLARITY_FALLING;
	}else if(e==1){
		sConfigIC.ICPolarity = TIM_INPUTCHANNELPOLARITY_RISING;
	}else if(e==2){
		sConfigIC.ICPolarity = TIM_INPUTCHANNELPOLARITY_BOTHEDGE;
	}

	sConfigIC.ICSelection = TIM_ICSELECTION_DIRECTTI;
	sConfigIC.ICPrescaler = TIM_ICPSC_DIV1;
	sConfigIC.ICFilter = 10;
	if (HAL_TIM_IC_ConfigChannel(&htim1, &sConfigIC, TIM_CHANNEL_1) != HAL_OK)
	{
	Error_Handler();
	}
}
extern void set_dac(float val){
	  dacx3202_set_voltage(&dacx3202, DACX3202_DAC_1, val);
}

extern void start_circular_adc(){

	//init timer

	//HAL_TIM_OC_Stop_IT(&htim1, TIM_CHANNEL_1);
	//HAL_TIM_Base_Stop(&htim2);

	/*

	htim1.Init.Prescaler = my_prescaler-1;
	htim2.Init.Prescaler = my_prescaler-1;

	if (HAL_TIM_Base_Init(&htim1) != HAL_OK)
	{
	Error_Handler();
	}

	__HAL_TIM_CLEAR_IT(&htim2, TIM_IT_UPDATE);
	__HAL_TIM_DISABLE_IT(&htim2,TIM_IT_UPDATE);

	if (HAL_TIM_Base_Init(&htim2) != HAL_OK)
	{
	Error_Handler();
	}

	__HAL_TIM_CLEAR_IT(&htim2, TIM_IT_UPDATE);
	__HAL_TIM_ENABLE_IT(&htim2,TIM_IT_UPDATE);
	*/
	//__HAL_TIM_SET_PRESCALER(&htim1,my_prescaler-1);
	//__HAL_TIM_SET_PRESCALER(&htim2,my_prescaler-1);

	HAL_GPIO_WritePin(LED_B_GPIO_Port, LED_B_Pin, 0);
	//starting everything
	Is_First_Captured = 0;
	first_adc_loop_finished = 0;
	printf("activate trigger! \r\n");
	//HAL_TIM_Base_Start_IT(&htim2);
	//htim2.Instance->CNT = 0;
	HAL_ADC_Start_DMA(&hadc1, (uint32_t*)adc_buf, ADC_BUFFER_LEN);
	HAL_TIM_OC_Start_IT(&htim1, TIM_CHANNEL_1);

}

extern void startADC(){
	HAL_ADC_Start_DMA(&hadc1, (uint32_t*)adc_buf, ADC_BUFFER_LEN);
	//timer_val = __HAL_TIM_GET_COUNTER(&htim17);
	//HAL_Delay(2);
	//timer_val = __HAL_TIM_GET_COUNTER(&htim17) - timer_val;
	//printf("delay: %u \r\n", timer_val);
}

extern void set_dma_circular(uint8_t b){
	if(b==1){
		hdma_adc1.Init.Mode = DMA_CIRCULAR;//DMA_NORMAL
	}else{
		hdma_adc1.Init.Mode = DMA_NORMAL;
	}
}

int16_t voltage_to_count(int c, float v){
	return v*((CALI_HIGH_INT[c]-CALI_LOW_INT[c])/(CALI_HIGH_FLOAT[c]-CALI_LOW_FLOAT[c]))+CALI_LOW_INT[c];
}

static uint32_t get_page(uint32_t addr) {
    return (addr - FLASH_LAYOUT_START_ADDR) / FLASH_LAYOUT_SECTOR_SIZE;
}

extern void update_flash(){
	//TODO
	printf("updating flash!\r\n");
	HAL_FLASH_Unlock();

	while (LL_FLASH_IsActiveFlag_OperationSuspended()) {
	}

	const int n_64bit = 8;
	uint64_t my_64bit_words[8]={0};

	memcpy(&my_64bit_words[0],&SERIALNUMBER[0],2);//160
	memcpy(&my_64bit_words[1],&CALI_DAC_INT[0],8);//0,0

	memcpy(&my_64bit_words[2],&CALI_LOW_FLOAT[0],4);//0
	memcpy(&my_64bit_words[3],&CALI_LOW_FLOAT[1],4);//0

	memcpy(&my_64bit_words[4],&CALI_LOW_INT[0],4);//3,4

	memcpy(&my_64bit_words[5],&CALI_HIGH_FLOAT[0],4);//7.63,7.63
	memcpy(&my_64bit_words[6],&CALI_HIGH_FLOAT[1],4);

	memcpy(&my_64bit_words[7],&CALI_HIGH_INT[0],4);//5,6

	static FLASH_EraseInitTypeDef EraseInitStruct;
	EraseInitStruct.TypeErase = FLASH_TYPEERASE_PAGES;
	EraseInitStruct.Page = get_page(flash_address);
	EraseInitStruct.NbPages = 1;
	uint32_t PageError;
	volatile HAL_StatusTypeDef status_test;
	status_test = HAL_FLASHEx_Erase(&EraseInitStruct, &PageError);

	for(int i=0;i<n_64bit;i++){
		HAL_FLASH_Program(FLASH_TYPEPROGRAM_DOUBLEWORD, flash_address+i*8, my_64bit_words[i]);
		while (__HAL_FLASH_GET_FLAG(FLASH_FLAG_CFGBSY)) {
			    }
	}

	HAL_FLASH_Lock();

}
extern void read_flash(){
	//HAL_FLASH_Unlock();
	memcpy(&SERIALNUMBER[0],flash_address,2);
	memcpy(&CALI_DAC_INT[2],flash_address+12,4);
	memcpy(&CALI_LOW_FLOAT[0],flash_address+16,4);
	memcpy(&CALI_LOW_FLOAT[1],flash_address+24,4);
	memcpy(&CALI_LOW_INT[0],flash_address+32,4);
	memcpy(&CALI_HIGH_FLOAT[0],flash_address+40,4);
	memcpy(&CALI_HIGH_FLOAT[1],flash_address+48,4);
	memcpy(&CALI_HIGH_INT[0],flash_address+56,4);

	printf("read CALI_DAC_INT: %i - %i\r\n",CALI_DAC_INT[0],CALI_DAC_INT[1]);
	printf("read CALI_LOW_FLOAT: %f - %f\r\n",CALI_LOW_FLOAT[0],CALI_LOW_FLOAT[1]);
	printf("read CALI_LOW_INT: %i - %i\r\n",CALI_LOW_INT[0],CALI_LOW_INT[1]);
	printf("read CALI_HIGH_FLOAT: %f - %f\r\n",CALI_HIGH_FLOAT[0],CALI_HIGH_FLOAT[1]);
	printf("read CALI_HIGH_INT: %i - %i\r\n",CALI_HIGH_INT[0],CALI_HIGH_INT[1]);
	if(SERIALNUMBER[0]>=999){
		SERIALNUMBER[0]=0;
	}

	if(SERIALNUMBER[0]>0 && SERIALNUMBER[0]<999){
		CALIBRATED=1;
	}
	//HAL_FLASH_Lock();
}
extern void new_adc_init(){

	HAL_ADC_Stop_DMA(&hadc1);
	HAL_ADC_DeInit(&hadc1);

	memcpy(&dac_voltage[1],&adc_config[6],4);
	//int dac_val_nc = ((dac_voltage[1]*1443/10.02)+2029);
	int dac_val_nc = voltage_to_count(0,dac_voltage[1]);
	printf("dac_val_nc %i  CALI_DAC_INT 0 %i  CALI_DAC_INT 1 %i\r\n",dac_val_nc,CALI_DAC_INT[0],CALI_DAC_INT[1]);
	uint16_t dac_val = CALI_DAC_INT[0]+(1023*dac_val_nc/(CALI_DAC_INT[1]-CALI_DAC_INT[0]));
/* conflict
	float dac_voltage[2]={0};

	adc_mode = &adc_config[0];
	adc_routing = &adc_config[1];
	adc_sampletime = &adc_config[2];
	adc_clock_prescaler = &adc_config[3];
	adc_oversampling = &adc_config[4];

	adc_edge = &adc_config[5];
	memcpy(&dac_voltage[1],&adc_config[6],4);
	//float my_dac_val = (dac_voltage[1]+12)/8;
	int dac_val = ((dac_voltage[1]*1443/10.02)+2029)/4;
*/
	printf("dac value: %i\r\n",dac_val);
	dacx3202_set_value(&dacx3202, DACX3202_DAC_1, dac_val);

//dacx3202_set_voltage(&dacx3202, DACX3202_DAC_0, my_dac_val);

	//disable dac for now!
	//set_dac(my_dac_val);
	change_edge(*adc_edge);
	//if(adc_mode == 1){
	printf("adc mode: %i\r\n",*adc_mode);
	printf("routing: %i\r\n",*adc_routing);
	printf("adc_sampletime: %i\r\n",*adc_sampletime);
	printf("adc_clock_prescaler: %i\r\n",*adc_clock_prescaler);
	printf("adc_oversampling: %i\r\n",*adc_oversampling);
	printf("adc_edge: %i\r\n",*adc_edge);

	printf("0: %i ,1: %i ,2: %i ,3: %i, \r\n",adc_config[5],adc_config[6],adc_config[7],adc_config[8]);
	change_edge(*adc_edge);
	ADC_ChannelConfTypeDef sConfig = {0};

	hadc1.Instance = ADC1;
	//hadc1.Init.ClockPrescaler = ADC_CLOCK_ASYNC_DIV32;
	if(*adc_clock_prescaler ==0){
		hadc1.Init.ClockPrescaler = ADC_CLOCK_ASYNC_DIV1;
	}else if(*adc_clock_prescaler ==1){
		hadc1.Init.ClockPrescaler = ADC_CLOCK_ASYNC_DIV2;
	}else if(*adc_clock_prescaler ==2){
		hadc1.Init.ClockPrescaler = ADC_CLOCK_ASYNC_DIV4;
	}else if(*adc_clock_prescaler ==3){
		hadc1.Init.ClockPrescaler = ADC_CLOCK_ASYNC_DIV8;
	}else if(*adc_clock_prescaler ==4){
		hadc1.Init.ClockPrescaler = ADC_CLOCK_ASYNC_DIV16;
	}else if(*adc_clock_prescaler ==5){
		hadc1.Init.ClockPrescaler = ADC_CLOCK_ASYNC_DIV32;
	}
	//hadc1.Init.ClockPrescaler = PRESCALER[*adc_clock_prescaler];
	hadc1.Init.Resolution = ADC_RESOLUTION_12B;
	hadc1.Init.DataAlign = ADC_DATAALIGN_RIGHT;
	hadc1.Init.ScanConvMode = ADC_SCAN_DISABLE;
	hadc1.Init.EOCSelection = ADC_EOC_SINGLE_CONV;
	hadc1.Init.LowPowerAutoWait = DISABLE;
	hadc1.Init.ContinuousConvMode = ENABLE;

	uint8_t n_channel = 0;
	for(int channel = 0; channel<3; channel++){
		if(*adc_routing & (int) pow(2,channel)){
			n_channel++;
		}
	}
	printf("n_channel: %d \n",n_channel);
	hadc1.Init.NbrOfConversion = n_channel;
	hadc1.Init.DiscontinuousConvMode = DISABLE;
	if(*adc_mode == 1){
		//hadc1.Init.ExternalTrigConv = ADC_EXTERNALTRIG_T1_TRGO;
		//hadc1.Init.ExternalTrigConvEdge = ADC_EXTERNALTRIGCONVEDGE_RISING;
		hadc1.Init.ExternalTrigConv = ADC_SOFTWARE_START;
		hadc1.Init.ExternalTrigConvEdge = ADC_EXTERNALTRIGCONVEDGE_NONE;
	}else if(*adc_mode == 0){
		hadc1.Init.ExternalTrigConv = ADC_SOFTWARE_START;
		hadc1.Init.ExternalTrigConvEdge = ADC_EXTERNALTRIGCONVEDGE_NONE;
		//hadc1.Init.ExternalTrigConvEdge = ADC_EXTERNALTRIGCONVEDGE_RISING;
	}
	hadc1.Init.DMAContinuousRequests = ENABLE;
	hadc1.Init.Overrun = ADC_OVR_DATA_OVERWRITTEN;
	//hadc1.Init.OversamplingMode = ENABLE;
	//hadc1.Init.Oversampling.Ratio = ADC_OVERSAMPLING_RATIO_16;
	//hadc1.Init.Oversampling.RightBitShift = ADC_RIGHTBITSHIFT_4;
	//hadc1.Init.Oversampling.TriggeredMode = ADC_TRIGGEREDMODE_SINGLE_TRIGGER;

	if(*adc_oversampling==0){
		hadc1.Init.Oversampling.Ratio = OVERSAMPLING[*adc_oversampling];
		hadc1.Init.OversamplingMode = DISABLE;
	}else{
		hadc1.Init.OversamplingMode = ENABLE;
		hadc1.Init.Oversampling.Ratio = OVERSAMPLING[*adc_oversampling];
		hadc1.Init.Oversampling.RightBitShift = BITSHIFT[*adc_oversampling];
		hadc1.Init.Oversampling.TriggeredMode = ADC_TRIGGEREDMODE_SINGLE_TRIGGER;
		//hadc1.Init.Oversampling.OversamplingStopReset = ADC_REGOVERSAMPLING_CONTINUED_MODE;
	}

	hadc1.Init.Oversampling.OversamplingStopReset = ADC_REGOVERSAMPLING_CONTINUED_MODE;
	if (HAL_ADC_Init(&hadc1) != HAL_OK)
	{
	Error_Handler();
	}

	/** Configure Regular Channel
	*/
	uint16_t channel_pin[3]={ADC_CHANNEL_14, ADC_CHANNEL_2, ADC_CHANNEL_2};
	uint8_t rank = 0;
	for(int channel = 0; channel<3; channel++){
		if(*adc_routing & (int) pow(2,channel)){
			//sConfig.Channel = channel_pin[channel];
			if(channel == 0){
				sConfig.Channel = ADC_CHANNEL_14;
			}else if(channel == 1){
				sConfig.Channel = ADC_CHANNEL_2;
			}else if(channel == 2){
				sConfig.Channel = ADC_CHANNEL_2;
			}

			rank+=1;
			sConfig.Rank = rank;

			sConfig.SamplingTime = SAMPLETIME[*adc_sampletime];
			sConfig.SingleDiff = ADC_SINGLE_ENDED;
			sConfig.OffsetNumber = ADC_OFFSET_NONE;
			sConfig.Offset = 0;
			if (HAL_ADC_ConfigChannel(&hadc1, &sConfig) != HAL_OK){
				Error_Handler();
			}
			printf("channel %i is configured\r\n",rank);
		}
	}

	if(*adc_mode == 1){
		//oscillator mode
		float prescaler_f = ((12.5 + SAMPLETIME_CYCLES[*adc_sampletime])*OVERSAMPLING_DIVIDER[*adc_oversampling])*PRESCALER_DIVIDER[*adc_clock_prescaler]/(2.0);
		my_prescaler = prescaler_f;
		printf("OVERSAMPLING_DIVIDER: %i\r\n",OVERSAMPLING_DIVIDER[*adc_oversampling]);

		printf("OVERSAMPLING_DIVIDER[*adc_oversampling] %i\r\n",OVERSAMPLING_DIVIDER[*adc_oversampling]);
		printf("SAMPLETIME_CYCLES: %i\r\n",(uint32_t)(OVERSAMPLING_DIVIDER[*adc_oversampling]*SAMPLETIME_CYCLES[*adc_sampletime]));
		printf("PRESCALER_DIVIDER: %i\r\n",PRESCALER_DIVIDER[*adc_clock_prescaler]);
		printf("my_prescaler: %i\r\n",my_prescaler);
		//__HAL_TIM_CLEAR_IT(&htim2, TIM_IT_UPDATE);
		//__HAL_TIM_DISABLE_IT(&htim2,TIM_IT_UPDATE);
		__HAL_TIM_SET_PRESCALER(&htim1,my_prescaler);
		__HAL_TIM_SET_PRESCALER(&htim2,my_prescaler);
		//htim1.Instance->PSC = my_prescaler;
		//htim2.Instance->PSC = my_prescaler;
		htim2.Instance->CNT = 0;
		htim1.Instance->CNT = 0;

		//__HAL_TIM_CLEAR_IT(&htim2, TIM_IT_UPDATE);
		//__HAL_TIM_ENABLE_IT(&htim2,TIM_IT_UPDATE);
	}

	HAL_ADCEx_Calibration_Start(&hadc1, ADC_SINGLE_ENDED);
	if(*adc_mode == 0){
		printf("start live mode!\r\n");
		HAL_ADC_Start_DMA(&hadc1, (uint32_t*)adc_buf, 180);
	}
}

void HAL_COMP_TriggerCallback(COMP_HandleTypeDef *hcomp){
//	printf("comp call  \r\n");
}

//Callback when half filled

void HAL_TIM_PeriodElapsedCallback (TIM_HandleTypeDef *htim)
{
	/*
	if (htim == &htim2){
		timer_val = __HAL_TIM_GET_COUNTER(&htim1);
		HAL_ADC_Stop_DMA(&hadc1);
		HAL_TIM_Base_Stop_IT(&htim2);
		htim2.Instance->CNT = 0;
		timestamp_adc_stop = timer_val;//ADC_BUFFER_LEN*timer_val/(reference_counts);
		//printf("trigger is no %i , ",timestamp_trigger);
		printf(" end is at %i , reference counts: %i\r\n",timestamp_adc_stop,reference_counts);
		HAL_GPIO_WritePin(LED_B_GPIO_Port, LED_B_Pin, 1);
		UTIL_SEQ_SetTask(1 << CFG_TASK_MY_TASK, CFG_SCH_PRIO_0);
	}
	*/
}

void HAL_ADC_ConvHalfCpltCallback(ADC_HandleTypeDef* hadc){
	//timer_val = __HAL_TIM_GET_COUNTER(&htim17);
	if(*adc_mode == 0){
		UTIL_SEQ_SetTask(1 << CFG_TASK_HALF_FILLED, CFG_SCH_PRIO_0);
	}
}

void HAL_TIM_IC_CaptureCallback(TIM_HandleTypeDef *htim){
//	HAL_GPIO_TogglePin(LED_G_GPIO_Port, LED_G_Pin);
	//printf("got tim evenz \r\n");

	if (htim->Channel == HAL_TIM_ACTIVE_CHANNEL_1){
		if (Is_First_Captured==0 && first_adc_loop_finished){
			Is_First_Captured = 1;  // set the first captured as true
			IC_Val1 = HAL_TIM_ReadCapturedValue(htim, TIM_CHANNEL_1);
			while(htim1.Instance->CNT < SAMPLES_POST_TRIGGER + IC_Val1 + 10);
			HAL_GPIO_WritePin(LED_B_GPIO_Port, LED_B_Pin, 1);
			timestamp_trigger = IC_Val1*ADC_BUFFER_LEN/(reference_counts);
			HAL_ADC_Stop_DMA(&hadc1);
			HAL_TIM_OC_Stop_IT(&htim1, TIM_CHANNEL_1);
			UTIL_SEQ_SetTask(1 << CFG_TASK_MY_TASK, CFG_SCH_PRIO_0);
		}
	}
}
//Callback when buffer filled
//void HAL_ADC_ConvCpltCallback(ADC_HandleTypeDef* hadc1){
void HAL_ADC_ConvCpltCallback(ADC_HandleTypeDef* hadc){

	/*
	reference_counts = __HAL_TIM_GET_COUNTER(&htim1);
	htim1.Instance->CNT = 0;
	if(first_adc_loop_finished == 0){
		first_adc_loop_finished = 1;
	}
	*/
	if(*adc_mode == 1){
		reference_counts = __HAL_TIM_GET_COUNTER(&htim1);
		htim1.Instance->CNT = 0;
		if(first_adc_loop_finished == 0){
			first_adc_loop_finished = 1;
		}
		printf("adc callback %i \r\n",reference_counts);
	}else if(*adc_mode == 0){
		UTIL_SEQ_SetTask(1 << CFG_TASK_FILLED, CFG_SCH_PRIO_0);
	}

	//printf("buff full! reference counts: %i \r\n",reference_counts);

}

/* USER CODE END 4 */

void Error_Handler(void)
{
  __disable_irq();
  while (1)
  {
  }
}
